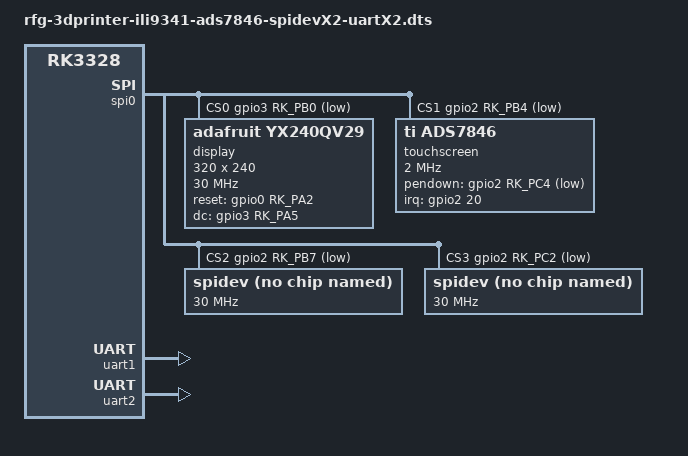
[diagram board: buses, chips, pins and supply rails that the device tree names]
/dts-v1/;
/plugin/;

#include <dt-bindings/gpio/gpio.h>
#include <dt-bindings/pinctrl/rockchip.h>
#include <dt-bindings/interrupt-controller/irq.h>

/*
    A Device tree overlay that enables the following:
    3.5" ILI9341 Display widh ADS7846 Touch controller as Spi Devices 0, and 1
    2 Extra chip select pins for Spidev 2 and 3 for adxl sensors or whatever else you want
    Uart 1 and Uart 2 
    ---I connect printer to Uart 1 left uart 2 for later usage, 
    ---if you are going to use Uart 2 mask the serial-getty@ttyS2 service so it doesn't start.
    
*/

/ {
	compatible = "rockchip,rk3328";

	fragment@0 {
		target-path = "/aliases";
		
		__overlay__ {
			spi0 = "/soc/spi@ff190000";
		};
	};
	fragment@1 {
		target = <&spi0>;
		
		__overlay__ {
			status = "okay";
			num-cs = <4>;
			pinctrl-names = "default", "default";
			pinctrl-1 = <&spi0m0_cs1>;
			cs-gpios = <&gpio3 RK_PB0 GPIO_ACTIVE_LOW>, <&gpio2 RK_PB4 GPIO_ACTIVE_LOW>,
				<&gpio2 RK_PB7 GPIO_ACTIVE_LOW>,<&gpio2 RK_PC2 GPIO_ACTIVE_LOW>;
			
			display@0 {
/*				compatible = "waveshare,rpi-lcd-35", "ilitek,ili9486";*/
				compatible = "adafruit,yx240qv29", "ilitek,ili9341";
				rotation = <90>;
				bgr = <0>;
				fps = <15>;
				buswidth = <1>;
				height = <240>;
				width = <320>;
				reg = <0>;
				spi-max-frequency = <30000000>;
				reset-gpios = <&gpio0 RK_PA2 GPIO_ACTIVE_HIGH>;
				dc-gpios = <&gpio3 RK_PA5 GPIO_ACTIVE_HIGH>;
				status = "okay";
			};
			touchscreen@1 {
				compatible = "ti,ads7846";
				pinctrl-names = "default";
				pinctrl-0 = <&i2s1_sdio1>;
				reg = <1>;
				spi-max-frequency = <2000000>;
				interrupt-parent = <&gpio2>;
				interrupts = <20 IRQ_TYPE_EDGE_FALLING>;
				pendown-gpio = <&gpio2 RK_PC4 GPIO_ACTIVE_LOW>;
				ti,x-min = /bits/ 16 <0>;
                ti,y-min = /bits/ 16 <0>;
                ti,x-max = /bits/ 16 <4095>;
                ti,y-max = /bits/ 16 <4095>;
                ti,pressure-min = /bits/ 16 <0>;
                ti,pressure-max = /bits/ 16 <0xFFFF>;
                ti,x-plate-ohms = /bits/ 16 <100>;
                ti,swap-xy = <1>; /* Enable swap_xy */
				wakeup-source;
				status = "okay";
			};
			spidev@2 {
				compatible = "rohm,dh2228fv";
				reg = <2>;
				spi-max-frequency = <30000000>;
			};
			spidev@3 {
				compatible = "rohm,dh2228fv";
				reg = <3>;
				spi-max-frequency = <30000000>;
			};
		};
	};
	
	fragment@2 {
                target = <&uart1>;
                __overlay__ {
                        status = "okay";
                };
        };


    /* 
    ------------------------------------------
        COMMENT OUT THIS LAST FRAGMENT IF YOU DONT WANT UART2 ENABLED
    ------------------------------------------
    */
	fragment@3 {
                target = <&uart2>;
                __overlay__ {
                        status = "okay";
                };
        };


};



